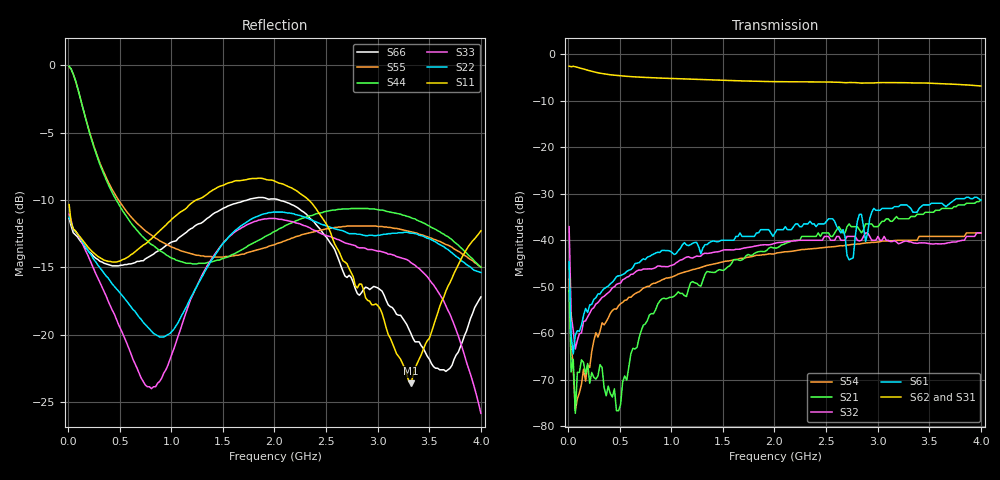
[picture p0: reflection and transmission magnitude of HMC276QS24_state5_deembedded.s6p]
! Hittite Microwave Corporation
! 20 Alpha Road
! Chelmsford, MA 01824
! Tel: 978-250-3343
! Fax: 978-250-3373
! Device: HMC276QS24, 0.7-3.0 GHz, GaAS MMIC 4x2 Switch Matrix in 24-lead QSOP package
! Misc: Data was de-embedded to package pins.
!  Port 1 = OP1
!  Port 2 = VL
!  Port 3 = VH
!  Port 4 = HH
!  Port 5 = HL
!  Port 6 = OP2
!  Vdd = +5 V
!  Vctl = 0 V[Logic 0] / +5 V[Logic 1]
!  State 05,  VH to OP1,  VL to OP2
!  Control Lines (Logic)
!  HV 1 = 0, Tone 1 = 1
!  HV 2 = 0, Tone 2 = 0
!  Data reformated to new Touchstone file format - Wed Jan 10 14:36:49 2007
# MHz S DB R 50
! 6 Port Network Data
! freq  dbS11  angS11  dbS12  angS12  dbS13  angS13  dbS14  angS14
!  dbS15  angS15  dbS16  angS16
!  dbS21  angS21  dbS22  angS22
!  dbS23  angS23  dbS24  angS24  dbS25  angS25  dbS26  angS26
!  dbS31  angS31  dbS32  angS32  dbS33  angS33  dbS34  angS34
!  dbS35  angS35  dbS36  angS36
!  dbS41  angS41  dbS42  angS42
!  dbS43  angS43  dbS44  angS44  dbS45  angS45  dbS46  angS46
!  dbS51  angS51  dbS52  angS52  dbS53  angS53  dbS54  angS54
!  dbS55  angS55  dbS56  angS56
!  dbS61  angS61  dbS62  angS62
!  dbS63  angS63  dbS64  angS64  dbS65  angS65  dbS66  angS66
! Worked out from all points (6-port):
!   201 points, 10 MHz to 4 GHz, reference 50 ohm
!   strongest paths, dB at 10 MHz, 1.008 GHz, 2.005 GHz, 3.002 GHz, 4 GHz:
!     S62: -2.6, -5.2, -5.9, -6.1, -6.8
!     S31: -2.8, -5.4, -6.1, -6.1, -7.0
!     S61: -44.6, -42.6, -38.4, -33.6, -31.4
!     S32: -37.1, -45.4, -40.7, -39.2, -38.4
!     S21: -50.8, -52.3, -41.7, -37.1, -31.4
!     S54: -48.3, -47.9, -42.9, -40.4, -38.4
!   lowest |S11| = -23.6 dB at 3.322 GHz (marker M1), VSWR 1.14, Z = 56.3 + j3.15 ohm
!   |S11| at or under -10 dB: start of sweep to 1.242 GHz; 2.331 GHz to end of sweep
